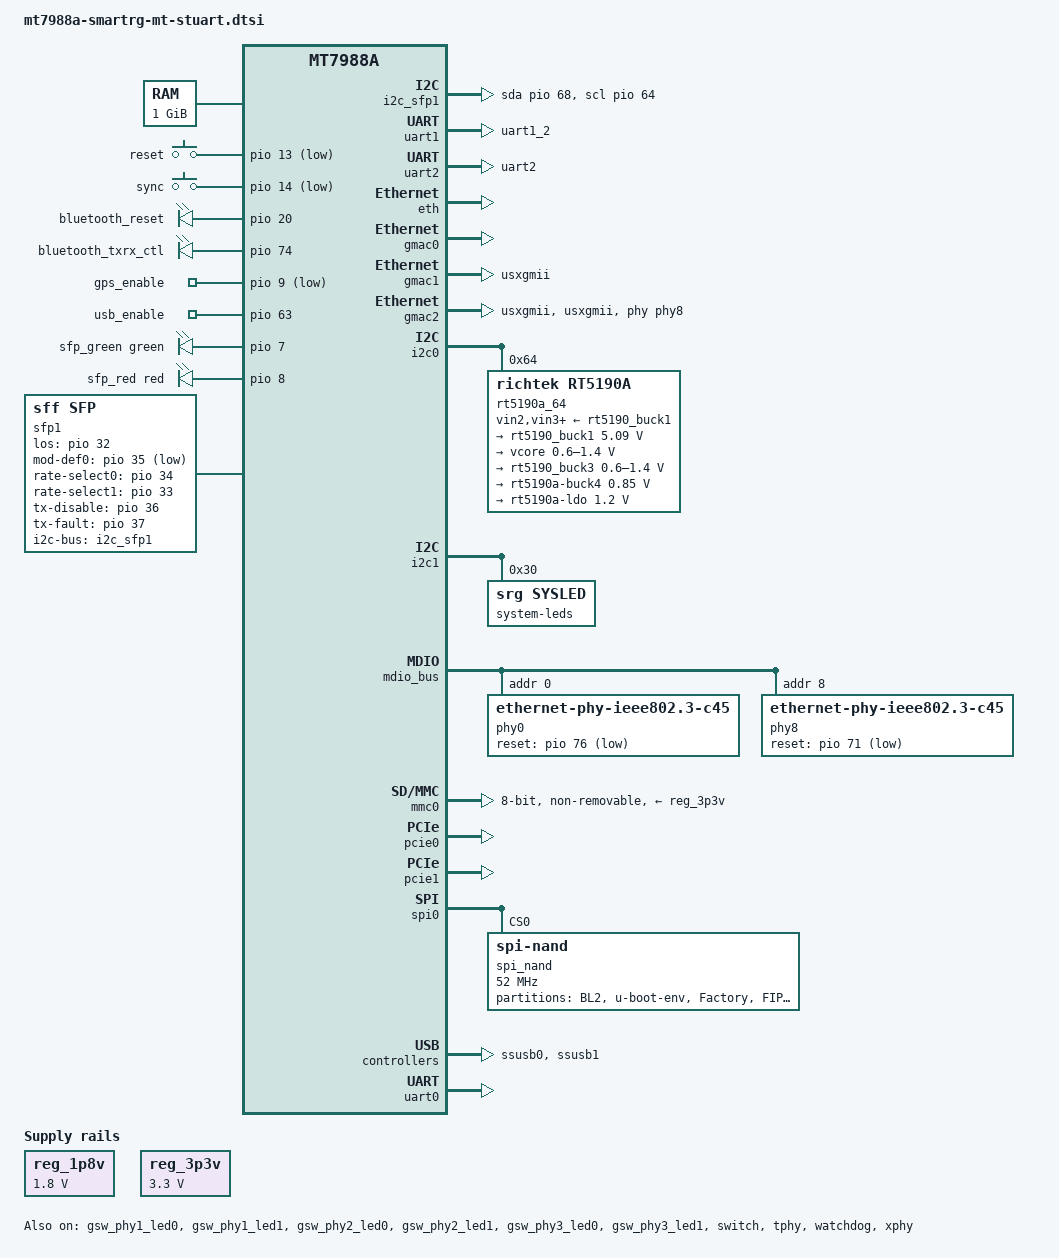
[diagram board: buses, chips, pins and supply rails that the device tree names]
// SPDX-License-Identifier: (GPL-2.0 OR MIT)
/*
 * Copyright (C) 2023 SmartRG Inc.
 * Author: Chad Monroe <chad.monroe@smartrg.com>
 */

/dts-v1/;
#include "mt7988a.dtsi"
#include <dt-bindings/gpio/gpio.h>
#include <dt-bindings/input/input.h>
#include <dt-bindings/leds/common.h>
#include <dt-bindings/pinctrl/mt65xx.h>
#include <dt-bindings/regulator/richtek,rt5190a-regulator.h>

/ {
	aliases {
		serial0 = &uart0;
		led-boot = &led_green;
		led-failsafe = &led_green;
		led-running = &led_green;
		led-upgrade = &led_green;
	};

	chosen {
		stdout-path = &uart0;
		bootargs = "console=ttyS0,115200n1 loglevel=8 pci=pcie_bus_perf";
	};

	memory {
		reg = <0x0 0x40000000 0x0 0x40000000>;
	};

	reserved-memory {
		#address-cells = <2>;
		#size-cells = <2>;
		ranges;

		/delete-node/ramoops@42ff0000;

		bootdata_reserved: bootdata@45000000 {
			no-map;
			reg = <0x0 0x45000000 0x0 0x00001000>;
		};

		ramoops_reserved: ramoops@45001000 {
			no-map;
			compatible = "ramoops";
			reg = <0x0 0x45001000 0x0 0x00140000>;
			ftrace-size = <0x20000>;
			record-size = <0x20000>;
			console-size = <0x20000>;
			pmsg-size = <0x80000>;
		};
	};

	bootdata {
		compatible = "bootdata";
		memory-region = <&bootdata_reserved>;
	};

	reg_1p8v: regulator-1p8v {
		compatible = "regulator-fixed";
		regulator-name = "fixed-1.8V";
		regulator-min-microvolt = <1800000>;
		regulator-max-microvolt = <1800000>;
		regulator-boot-on;
		regulator-always-on;
	};

	reg_3p3v: regulator-3p3v {
		compatible = "regulator-fixed";
		regulator-name = "fixed-3.3V";
		regulator-min-microvolt = <3300000>;
		regulator-max-microvolt = <3300000>;
		regulator-boot-on;
		regulator-always-on;
	};

	gpio-keys {
		compatible = "gpio-keys";

		factory {
			label = "reset";
			linux,code = <KEY_RESTART>;
			gpios = <&pio 13 GPIO_ACTIVE_LOW>;
		};

		wps {
			label = "sync";
			linux,code = <KEY_WPS_BUTTON>;
			gpios = <&pio 14 GPIO_ACTIVE_LOW>;
		};
	};

	gpio-leds {
		compatible = "gpio-leds";

		bluetooth_reset: bluetooth_reset {
			label = "bluetooth_reset";
			gpios = <&pio 20 GPIO_ACTIVE_HIGH>;
			default-state = "off";
		};

		bluetooth_txrx_ctl: bluetooth_txrx_ctl {
			label = "bluetooth_txrx_ctl";
			gpios = <&pio 74 GPIO_ACTIVE_HIGH>;
			default-state = "off";
		};

		gps_enable: gps-enable {
			label = "gps_enable";
			gpios = <&pio 9 GPIO_ACTIVE_LOW>;
			default-state = "off";
		};

		usb_enable: usb-enable {
			label = "usb_enable";
			gpios = <&pio 63 GPIO_ACTIVE_HIGH>;
			default-state = "on";
		};

		sfp_green: sfp-green {
			label = "sfp_green";
			function = LED_FUNCTION_STATUS;
			color = <LED_COLOR_ID_GREEN>;
			gpios = <&pio 7 GPIO_ACTIVE_HIGH>;
			default-state = "off";
		};

		sfp_red: sfp-red {
			label = "sfp_red";
			function = LED_FUNCTION_STATUS;
			color = <LED_COLOR_ID_RED>;
			gpios = <&pio 8 GPIO_ACTIVE_HIGH>;
			default-state = "off";
		};
	};

	i2c_sfp1: i2c-gpio-0 {
		compatible = "i2c-gpio";
		sda-gpios = <&pio 68 (GPIO_ACTIVE_HIGH | GPIO_OPEN_DRAIN)>;
		scl-gpios = <&pio 64 (GPIO_ACTIVE_HIGH | GPIO_OPEN_DRAIN)>;
		i2c-gpio,delay-us = <2>;
		#address-cells = <1>;
		#size-cells = <0>;
	};

	sfp1: sfp1 {
		compatible = "sff,sfp";
		i2c-bus = <&i2c_sfp1>;
		los-gpios = <&pio 32 GPIO_ACTIVE_HIGH>;
		mod-def0-gpios = <&pio 35 GPIO_ACTIVE_LOW>;
		rate-select0-gpios = <&pio 34 GPIO_ACTIVE_HIGH>;
		rate-select1-gpios = <&pio 33 GPIO_ACTIVE_HIGH>;
		tx-disable-gpios = <&pio 36 GPIO_ACTIVE_HIGH>;
		tx-fault-gpios = <&pio 37 GPIO_ACTIVE_HIGH>;
		maximum-power-milliwatt = <3000>;
	};

	uart1: serial@11000100 {
		compatible = "mediatek,mt7986-uart",
				 "mediatek,mt6577-uart";
		reg = <0 0x11000100 0 0x100>;
		interrupts = <GIC_SPI 124 IRQ_TYPE_LEVEL_HIGH>;
		/*
		 * 8250-mtk driver don't control "baud" clock since commit
		 * e32a83c70cf9 (kernel v5.7), but both "baud" and "bus" clocks
		 * still need to be passed to the driver to prevent probe fail
		 */
		clocks = <&topckgen CLK_TOP_UART_SEL>,
			 <&infracfg CLK_INFRA_52M_UART1_CK>;
		clock-names = "baud", "bus";
		assigned-clocks = <&topckgen CLK_TOP_UART_SEL>,
				  <&infracfg CLK_INFRA_MUX_UART1_SEL>;
		assigned-clock-parents = <&topckgen CLK_TOP_XTAL>,
					 <&topckgen CLK_TOP_UART_SEL>;
		status = "disabled";
	};

	uart2: serial@11000200 {
		compatible = "mediatek,mt7986-uart",
				 "mediatek,mt6577-uart";
		reg = <0 0x11000200 0 0x100>;
		interrupts = <GIC_SPI 125 IRQ_TYPE_LEVEL_HIGH>;
		/*
		 * 8250-mtk driver don't control "baud" clock since commit
		 * e32a83c70cf9 (kernel v5.7), but both "baud" and "bus" clocks
		 * still need to be passed to the driver to prevent probe fail
		 */
		clocks = <&topckgen CLK_TOP_UART_SEL>,
			 <&infracfg CLK_INFRA_52M_UART2_CK>;
		clock-names = "baud", "bus";
		assigned-clocks = <&topckgen CLK_TOP_UART_SEL>,
				  <&infracfg CLK_INFRA_MUX_UART2_SEL>;
		assigned-clock-parents = <&topckgen CLK_TOP_XTAL>,
					 <&topckgen CLK_TOP_UART_SEL>;
		status = "disabled";
	};
};

&cpu0 {
	proc-supply = <&rt5190_buck3>;
};

&cpu1 {
	proc-supply = <&rt5190_buck3>;
};

&cpu2 {
	proc-supply = <&rt5190_buck3>;
};

&cpu3 {
	proc-supply = <&rt5190_buck3>;
};

&cci {
	proc-supply = <&rt5190_buck3>;
};

&eth {
	pinctrl-0 = <&mdio0_pins>;
	pinctrl-names = "default";
	status = "okay";
};

&gmac0 {
	status = "okay";
};

&gmac1 {
	label = "wan";
	status = "okay";
	phy-mode = "usxgmii";
};

&gmac2 {
	label = "lan1";
	status = "okay";
	phy-mode = "usxgmii";
	phy-connection-type = "usxgmii";
	phy = <&phy8>;
};

&gsw_phy0 {
	status = "disabled";
};

&gsw_phy1 {
	pinctrl-names = "gbe-led";
	pinctrl-0 = <&gbe1_led0_pins>, <&gbe1_led1_pins>;
};

&gsw_phy1_led0 {
	status = "okay";
	color = <LED_COLOR_ID_GREEN>;
};

&gsw_phy1_led1 {
	status = "okay";
	color = <LED_COLOR_ID_AMBER>;
};

&gsw_phy2 {
	pinctrl-names = "gbe-led";
	pinctrl-0 = <&gbe2_led0_pins>, <&gbe2_led1_pins>;
};

&gsw_phy2_led0 {
	status = "okay";
	color = <LED_COLOR_ID_GREEN>;
};

&gsw_phy2_led1 {
	status = "okay";
	color = <LED_COLOR_ID_AMBER>;
};

&gsw_phy3 {
	pinctrl-names = "gbe-led";
	pinctrl-0 = <&gbe3_led0_pins>, <&gbe3_led1_pins>;
};

&gsw_phy3_led0 {
	status = "okay";
	color = <LED_COLOR_ID_GREEN>;
};

&gsw_phy3_led1 {
	status = "okay";
	color = <LED_COLOR_ID_AMBER>;
};

&i2c0 {
	pinctrl-names = "default";
	pinctrl-0 = <&i2c0_pins>;
	status = "okay";

	rt5190a_64: rt5190a@64 {
		compatible = "richtek,rt5190a";
		reg = <0x64>;
		/*interrupts-extended = <&gpio26 0 IRQ_TYPE_LEVEL_LOW>;*/
		vin2-supply = <&rt5190_buck1>;
		vin3-supply = <&rt5190_buck1>;
		vin4-supply = <&rt5190_buck1>;

		regulators {
			rt5190_buck1: buck1 {
				regulator-name = "rt5190a-buck1";
				regulator-min-microvolt = <5090000>;
				regulator-max-microvolt = <5090000>;
				regulator-allowed-modes =
				<RT5190A_OPMODE_AUTO RT5190A_OPMODE_FPWM>;
				regulator-boot-on;
				regulator-always-on;
			};
			buck2 {
				regulator-name = "vcore";
				regulator-min-microvolt = <600000>;
				regulator-max-microvolt = <1400000>;
				regulator-boot-on;
				regulator-always-on;
			};
			rt5190_buck3: buck3 {
				regulator-name = "vproc";
				regulator-min-microvolt = <600000>;
				regulator-max-microvolt = <1400000>;
				regulator-boot-on;
				regulator-always-on; /* FIXME: need this for some reason to keep regulator on */
			};
			buck4 {
				regulator-name = "rt5190a-buck4";
				regulator-min-microvolt = <850000>;
				regulator-max-microvolt = <850000>;
				regulator-allowed-modes =
				<RT5190A_OPMODE_AUTO RT5190A_OPMODE_FPWM>;
				regulator-boot-on;
				regulator-always-on;
			};
			ldo {
				regulator-name = "rt5190a-ldo";
				regulator-min-microvolt = <1200000>;
				regulator-max-microvolt = <1200000>;
				regulator-boot-on;
				regulator-always-on;
			};
		};
	};
};

&i2c1 {
	pinctrl-names = "default";
	pinctrl-0 = <&i2c1_pins>;
	status = "okay";

	system-leds {
		compatible = "srg,sysled";
		reg = <0x30>;

		led_red: led-red {
			label = "red";
			reg = <1>;
		};

		led_green: led-green {
			label = "green";
			reg = <2>;
			linux,default-trigger = "timer";
		};

		led_blue: led-blue {
			label = "blue";
			reg = <3>;
		};

		led_white: led-white {
			label = "white";
			reg = <4>;
		};
	};
};

&mdio_bus {
	/* external Aquantia AQR113C */
	phy0: ethernet-phy@0 {
		reg = <0>;
		compatible = "ethernet-phy-ieee802.3-c45";
		reset-gpios = <&pio 76 1>;
		reset-assert-us = <100000>;
		reset-deassert-us = <221000>;
		mdi-reversal = /bits/ 16 <1>;
	};

	/* external Aquantia AQR113C */
	phy8: ethernet-phy@8 {
		reg = <8>;
		compatible = "ethernet-phy-ieee802.3-c45";
		reset-gpios = <&pio 71 1>;
		reset-assert-us = <100000>;
		reset-deassert-us = <221000>;
		mdi-reversal = /bits/ 16 <1>;
	};
};

&mmc0 {
	pinctrl-names = "default", "state_uhs";
	pinctrl-0 = <&mmc0_pins_emmc_51>;
	pinctrl-1 = <&mmc0_pins_emmc_51>;
	bus-width = <8>;
	max-frequency = <200000000>;
	cap-mmc-highspeed;
	mmc-hs200-1_8v;
	mmc-hs400-1_8v;
	hs400-ds-delay = <0x12814>;
	vmmc-supply = <&reg_3p3v>;
	vqmmc-supply = <&reg_1p8v>;
	non-removable;
	no-sd;
	no-sdio;
	status = "okay";
};

&pcie0 {
	pinctrl-names = "default";
	pinctrl-0 = <&pcie0_pins>;
	status = "okay";

	pcie@0,0 {
		reg = <0x0000 0 0 0 0>;

		mt7996@0,0 {
			reg = <0x0000 0 0 0 0>;
			mediatek,eeprom-file-offset = <0x0>;
			ieee80211-freq-limit = <2400000 2500000>, <5170000 5835000>, <5945000 7125000>;
		};
	};
};

&pcie1 {
	pinctrl-names = "default";
	pinctrl-0 = <&pcie1_pins>;
	status = "okay";
};

&pcie2 {
	status = "disabled";
};

&pcie3 {
	status = "disabled";
};

&pio {
	uart1_pins: uart1-pins {
		mux {
			function = "uart";
			groups = "uart1_2";
		};
	};

	uart2_pins: uart2-pins {
		mux {
			function = "uart";
			groups = "uart2";
		};
	};
};

&spi0 {
	pinctrl-names = "default";
	pinctrl-0 = <&spi0_flash_pins>;
	status = "okay";

	spi_nand: spi_nand@0 {
		compatible = "spi-nand";
		reg = <0>;
		spi-max-frequency = <52000000>;
		spi-tx-buswidth = <4>;
		spi-rx-buswidth = <4>;
	};

};

&spi_nand {
	mediatek,nmbm;
	mediatek,bmt-max-ratio = <1>;
	mediatek,bmt-max-reserved-blocks = <64>;

	partitions {
		compatible = "fixed-partitions";
		#address-cells = <1>;
		#size-cells = <1>;

		partition@0 {
			label = "BL2";
			reg = <0x00000 0x0100000>;
			read-only;
		};

		partition@100000 {
			label = "u-boot-env";
			reg = <0x0100000 0x0080000>;
		};

		factory: partition@180000 {
			label = "Factory";
			reg = <0x180000 0x0400000>;
		};

		partition@580000 {
			label = "FIP";
			reg = <0x580000 0x0200000>;
		};

		partition@780000 {
			label = "ubi";
			reg = <0x780000 0x7080000>;
		};
	};
};

&ssusb0 {
	status = "okay";
};

&ssusb1 {
	status = "okay";
};

&switch {
	status = "okay";

	ports {
		port@0 {
			status = "disabled";
		};

		port@1 {
			label = "lan2";
		};

		port@2 {
			label = "lan3";
		};

		port@3 {
			label = "lan4";
		};
	};
};

&tphy {
	status = "okay";
};

&uart0 {
	status = "okay";
};

&uart1 {
	pinctrl-names = "default";
	pinctrl-0 = <&uart1_pins>;
	status = "okay";

	/* Airoha AG3352 GPS */
};

&uart2 {
	pinctrl-names = "default";
	pinctrl-0 = <&uart2_pins>;
	status = "okay";

	/* DA14531MOD Bluetooth */
};

&watchdog {
	status = "okay";
};

&xphy {
	status = "okay";
};
